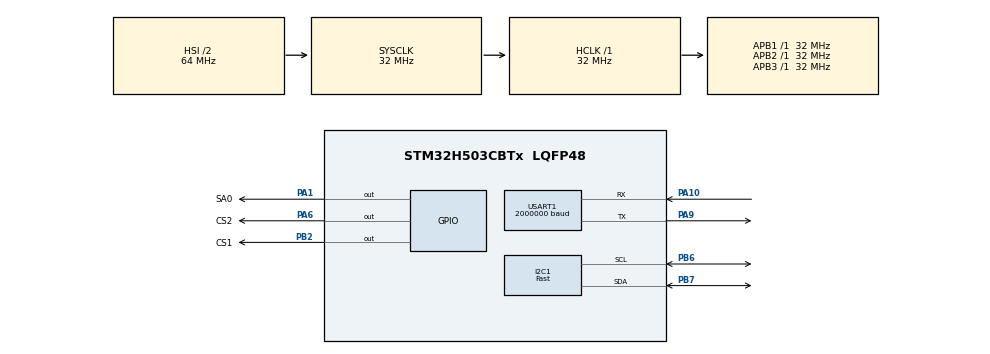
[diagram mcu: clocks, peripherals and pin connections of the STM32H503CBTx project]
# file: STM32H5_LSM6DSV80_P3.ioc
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BOOTPATH.BootPathName=LEGACY
BOOTPATH.UserSelectedBootPath=LEGACY
I2C1.I2C_Speed_Mode=I2C_Fast
I2C1.Timing=0x00300F38
Mcu.Family=STM32H5
Mcu.Name=STM32H503CBTx
Mcu.Package=LQFP48
NVIC.PriorityGroup=NVIC_PRIORITYGROUP_4
PA1.GPIO_Label=SA0
PA1.Signal=GPIO_Output
PA10.Mode=Asynchronous
PA10.Signal=USART1_RX
PA6.GPIO_Label=CS2
PA6.Signal=GPIO_Output
PA9.Mode=Asynchronous
PA9.Signal=USART1_TX
PB2.GPIO_Label=CS1
PB2.Signal=GPIO_Output
PB6.Mode=I2C
PB6.Signal=I2C1_SCL
PB7.Mode=I2C
PB7.Signal=I2C1_SDA
ProjectManager.HeapSize=0x2000
ProjectManager.StackSize=0x4000
ProjectManager.TargetToolchain=MDK-ARM V5.37
RCC.ADCFreq_Value=32000000
RCC.AHBFreq_Value=32000000
RCC.APB1Freq_Value=32000000
RCC.APB1TimFreq_Value=32000000
RCC.APB2Freq_Value=32000000
RCC.APB2TimFreq_Value=32000000
RCC.APB3Freq_Value=32000000
RCC.CSI_VALUE=4000000
RCC.CortexFreq_Value=32000000
RCC.EPOD_VALUE=4000000
RCC.HCLKFreq_Value=32000000
RCC.HSE_VALUE=25000000
RCC.HSI48_VALUE=48000000
RCC.HSI_VALUE=64000000
RCC.LSE_VALUE=32768
RCC.LSIRC_VALUE=32000
RCC.SYSCLKFreq_VALUE=32000000
RCC.USBFreq_Value=48000000
RCC.VCOOutputFreq_Value=516000000
USART1.BaudRate=2000000
USART1.VirtualMode-Asynchronous=VM_ASYNC
VP_BOOTPATH_VS_BOOTPATH.Mode=BP_Activate
VP_CORTEX_M33_NS_VS_Hclk.Mode=Hclk_Mode
VP_ICACHE_VS_ICACHE.Mode=DirectMappedCache
VP_MEMORYMAP_VS_MEMORYMAP.Mode=CurAppReg
VP_PWR_VS_LPOM.Mode=PowerOptimisation
VP_PWR_VS_SECSignals.Mode=Security/Privilege
board=custom

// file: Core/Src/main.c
/* USER CODE BEGIN Header */
/**
  ******************************************************************************
  * @file           : main.c
  * @brief          : Main program body
  ******************************************************************************
  * @attention
  *
  * Copyright (c) 2025 STMicroelectronics.
  * All rights reserved.
  *
  * This software is licensed under terms that can be found in the LICENSE file
  * in the root directory of this software component.
  * If no LICENSE file comes with this software, it is provided AS-IS.
  *
  ******************************************************************************
  */
/* USER CODE END Header */
#include "main.h"
#include "i2c.h"
#include "icache.h"
#include "usart.h"
#include "gpio.h"

/* USER CODE BEGIN Includes */
#include "stdio.h"
#include "lsm6dsv80x_reg.h"
/* USER CODE END Includes */

void SystemClock_Config(void);
/* USER CODE BEGIN PFP */
int fputc(int ch, FILE *f){
	HAL_UART_Transmit(&huart1 , (uint8_t *)&ch, 1, 0xFFFF);
	return ch;
}
/* USER CODE END PFP */

/* USER CODE BEGIN 0 */
#define SENSOR_BUS hi2c1

/* Private macro -------------------------------------------------------------*/
#define    BOOT_TIME            10 //ms
#define    CNT_FOR_OUTPUT       100

/* Private variables ---------------------------------------------------------*/
static int16_t data_raw_motion[3];
static int16_t data_raw_temperature;
static float_t acceleration_mg[3];
static float_t angular_rate_mdps[3];
static float_t temperature_degC;
static uint8_t whoamI;
static uint8_t tx_buffer[1000];

static lsm6dsv80x_filt_settling_mask_t filt_settling_mask;

/* Extern variables ----------------------------------------------------------*/

/* Private functions ---------------------------------------------------------*/

/*
 *   WARNING:
 *   Functions declare in this section are defined at the end of this file
 *   and are strictly related to the hardware platform used.
 *
 */
static int32_t platform_write(void *handle, uint8_t reg, const uint8_t *bufp,
                              uint16_t len);
static int32_t platform_read(void *handle, uint8_t reg, uint8_t *bufp,
                             uint16_t len);
static void tx_com( uint8_t *tx_buffer, uint16_t len );
static void platform_delay(uint32_t ms);
static void platform_init(void);

typedef struct
{
  float yaw;
  float pitch;
  float roll;
} euler_angle_t;

typedef struct
{
  float quat_w;
  float quat_x;
  float quat_y;
  float quat_z;
} quaternion_t;
void quaternion_to_euler_angle(quaternion_t *q,euler_angle_t *euler);
float halfPrecisionToFloat(uint16_t h);
static float_t npy_half_to_float(uint16_t h)
{
    union { float_t ret; uint32_t retbits; } conv;
    conv.retbits = lsm6dsv80x_from_f16_to_f32(h);
    return conv.ret;
}

static void sflp2q(float_t quat[4], uint16_t sflp[3])
{
  float_t sumsq = 0;

  quat[0] = npy_half_to_float(sflp[0]);
  quat[1] = npy_half_to_float(sflp[1]);
  quat[2] = npy_half_to_float(sflp[2]);

  for (uint8_t i = 0; i < 3; i++)
    sumsq += quat[i] * quat[i];

  if (sumsq > 1.0f) {
    float_t n = sqrtf(sumsq);
    quat[0] /= n;
    quat[1] /= n;
    quat[2] /= n;
    sumsq = 1.0f;
  }

  quat[3] = sqrtf(1.0f - sumsq);
}
/* USER CODE END 0 */

int main(void)
{

  /* MCU Configuration--------------------------------------------------------*/

  /* Reset of all peripherals, Initializes the Flash interface and the Systick. */
  HAL_Init();

  /* Configure the system clock */
  SystemClock_Config();

  /* Initialize all configured peripherals */
  MX_GPIO_Init();
  MX_I2C1_Init();
  MX_ICACHE_Init();
  MX_USART1_UART_Init();
  /* USER CODE BEGIN 2 */
	printf("HELLO!\n");
  HAL_GPIO_WritePin(CS1_GPIO_Port, CS1_Pin, GPIO_PIN_SET);
  HAL_GPIO_WritePin(SA0_GPIO_Port, SA0_Pin, GPIO_PIN_RESET);
  HAL_GPIO_WritePin(CS2_GPIO_Port, CS2_Pin, GPIO_PIN_SET);
	HAL_Delay(100);

	lsm6dsv80x_reset_t rst;
  stmdev_ctx_t dev_ctx;
  /* Initialize mems driver interface */
  dev_ctx.write_reg = platform_write;
  dev_ctx.read_reg = platform_read;
  dev_ctx.mdelay = platform_delay;
  dev_ctx.handle = &SENSOR_BUS;
  /* Init test platform */
//  platform_init();
  /* Wait sensor boot time */
  platform_delay(BOOT_TIME);

 /* 读取并检查器件 ID，确认当前 I2C/SPI 设备就是 LSM6DSV80X */
  lsm6dsv80x_device_id_get(&dev_ctx, &whoamI);
  printf("LSM6DSV80X_ID=0x%x,whoamI=0x%x",LSM6DSV80X_ID,whoamI);
  if (whoamI != LSM6DSV80X_ID)
    while (1);   // 如果ID不匹配则停机，说明连线/芯片错误

  /* 恢复默认配置：对所有寄存器进行软件复位，回到出厂状态 */
  lsm6dsv80x_reset_set(&dev_ctx, LSM6DSV80X_RESTORE_CTRL_REGS);
  do {
    lsm6dsv80x_reset_get(&dev_ctx, &rst);
  } while (rst != LSM6DSV80X_READY); // 等待复位完成

  /* 使能 BDU (Block Data Update)：在读完所有轴的寄存器前锁定数据，避免数据更新导致不一致 */
  lsm6dsv80x_block_data_update_set(&dev_ctx, PROPERTY_ENABLE);

  /* 设置输出数据速率 ODR：
   * 注意：SFLP 融合引擎的 ODR 不能高于输入传感器的 ODR
   */
  lsm6dsv80x_xl_data_rate_set(&dev_ctx, LSM6DSV80X_ODR_AT_120Hz);      // 低g加速度计 120Hz
  lsm6dsv80x_hg_xl_data_rate_set(&dev_ctx, LSM6DSV80X_HG_XL_ODR_AT_480Hz, 1); // 高g加速度计 480Hz，并打开 REGOUT 输出
  lsm6dsv80x_gy_data_rate_set(&dev_ctx, LSM6DSV80X_ODR_AT_120Hz);      // 陀螺仪 120Hz

  /* 设置满量程 FS */
  lsm6dsv80x_xl_full_scale_set(&dev_ctx, LSM6DSV80X_16g);      // 低g加速度计 ±16g
  lsm6dsv80x_hg_xl_full_scale_set(&dev_ctx, LSM6DSV80X_80g);   // 高g加速度计 ±80g
  lsm6dsv80x_gy_full_scale_set(&dev_ctx, LSM6DSV80X_4000dps);  // 陀螺仪 ±4000 dps

  /* 配置工作模式 */
  lsm6dsv80x_xl_mode_set(&dev_ctx, LSM6DSV80X_XL_HIGH_PERFORMANCE_MD); // 低g加速度计高性能模式
  lsm6dsv80x_gy_mode_set(&dev_ctx, LSM6DSV80X_GY_HIGH_PERFORMANCE_MD); // 陀螺仪高性能模式

  /* 配置 SFLP (Sensor Fusion Low Power) 融合引擎的数据输出速率 */
  lsm6dsv80x_sflp_data_rate_set(&dev_ctx, LSM6DSV80X_SFLP_120Hz);

  /* 开启 Game Rotation Vector 融合算法输出（即四元数输出） */
  lsm6dsv80x_sflp_game_rotation_set(&dev_ctx, PROPERTY_ENABLE);

  /* 配置陀螺零偏 (gBias)，避免融合计算时因偏置导致姿态漂移 */
  lsm6dsv80x_sflp_gbias_t gbias;
  lsm6dsv80x_all_sources_t all_sources;
  lsm6dsv80x_quaternion_t quaternion;
  /*
   * 应用层可以在这里加载上一次运行时保存的陀螺零偏值
   * （例如从 Flash 读取），这样能减少姿态解算漂移。
   */
  gbias.gbias_x = 0.0f;
  gbias.gbias_y = 0.0f;
  gbias.gbias_z = 0.0f;
  lsm6dsv80x_sflp_game_gbias_set(&dev_ctx, &gbias);

  /* 定义欧拉角和四元数变量，用于后续计算/输出 */
  euler_angle_t euler;
  quaternion_t quat;

	uint8_t sumcheck = 0;
	uint8_t addcheck = 0;

	uint8_t data_angular_rate_raw[16]={0};
	data_angular_rate_raw[0]=0xAB;//帧头
	data_angular_rate_raw[1]=0xFD;//源地址
	data_angular_rate_raw[2]=0xFE;//目标地址
	data_angular_rate_raw[3]=0x03;//功能码ID
	data_angular_rate_raw[4]=0x08;//数据长度LEN
	data_angular_rate_raw[5]=0x00;//数据长度LEN 8
	data_angular_rate_raw[6]=0x01;//mode = 1

	data_angular_rate_raw[13]=0x00;//FUSION _STA：融合状态

  /* USER CODE END 2 */

  /* Infinite loop */
  /* USER CODE BEGIN WHILE */
  while (1)
  {
		// 读取所有状态标志位（包括加速度/陀螺/温度 DRDY 以及嵌入式功能状态）
		lsm6dsv80x_all_sources_get(&dev_ctx, &all_sources);
		// 判断嵌入式功能（SFLP 融合引擎）是否处于可读状态
		if(all_sources.emb_func_stand_by)
		{
			// 从芯片寄存器读取 SFLP 融合四元数结果 (w, x, y, z)
			lsm6dsv80x_sflp_quaternion_get(&dev_ctx, &quaternion);
//			printf("w=%.2f,x=%.2f,y=%.2f,z=%.2f \n",
//									quaternion.quat_w,quaternion.quat_x,
//									quaternion.quat_y,quaternion.quat_z);
			// 对四元数做坐标系映射：
			// 这里根据板子安装方向，将芯片坐标系转换为应用坐标系
			quat.quat_w = quaternion.quat_w;
			quat.quat_x = - quaternion.quat_y;
			quat.quat_y = quaternion.quat_z;
			quat.quat_z = - quaternion.quat_x;
			// 将四元数转换为欧拉角（Roll/Pitch/Yaw）
			quaternion_to_euler_angle(&quat,&euler);
			// 打印欧拉角（单位：度）
//			printf("1:Roll=%.2f,Pitch=%.2f,Yaw=%.2f \n",
//											euler.roll,euler.pitch,euler.yaw);

			// 定义用于存放欧拉角的整数变量（放大100倍，用于发送）
			int16_t	Roll_int16;
			int16_t	Pitch_int16;
			int16_t	Yaw_int16;
			// 将浮点欧拉角转成定点整数，单位：度 × 100
			Roll_int16 = (int16_t)((euler.roll) * 100);
			Pitch_int16 = (int16_t)((euler.pitch) * 100);
			Yaw_int16 = (int16_t)((euler.yaw) * 100 - 18000);

//			printf("2:Roll=%d,Pitch=%d,Yaw=%d \n",
//											Roll_int16,Pitch_int16,Yaw_int16);

			data_angular_rate_raw[7] = (uint8_t)(Roll_int16 >> 8);//roll
			data_angular_rate_raw[8] = (uint8_t)(Roll_int16 );
			data_angular_rate_raw[9] = (uint8_t)(Pitch_int16 >> 8);//pitch
			data_angular_rate_raw[10] = (uint8_t)(Pitch_int16 );
			data_angular_rate_raw[11] = (uint8_t)(Yaw_int16 >> 8);//yaw
			data_angular_rate_raw[12] = (uint8_t)(Yaw_int16 );

			data_angular_rate_raw[13] = 0;
			sumcheck = 0;
			addcheck = 0;
			for(uint16_t i=0; i < 14; i++)
			{
				sumcheck += data_angular_rate_raw[i]; //从帧头开始，对每一字节进行求和，直到 DATA 区结束
				addcheck += sumcheck; //每一字节的求和操作，进行一次 sumcheck 的累加
			}
			data_angular_rate_raw[14]=sumcheck;
			data_angular_rate_raw[15]=addcheck;

			HAL_UART_Transmit(&huart1 , (uint8_t *)&data_angular_rate_raw, 16, 0xFFFF);

					}
    /* USER CODE END WHILE */

  }
}

void SystemClock_Config(void)
{
  RCC_OscInitTypeDef RCC_OscInitStruct = {0};
  RCC_ClkInitTypeDef RCC_ClkInitStruct = {0};

  /** Configure the main internal regulator output voltage
  */
  __HAL_PWR_VOLTAGESCALING_CONFIG(PWR_REGULATOR_VOLTAGE_SCALE3);

  while(!__HAL_PWR_GET_FLAG(PWR_FLAG_VOSRDY)) {}

  /** Initializes the RCC Oscillators according to the specified parameters
  * in the RCC_OscInitTypeDef structure.
  */
  RCC_OscInitStruct.OscillatorType = RCC_OSCILLATORTYPE_HSI;
  RCC_OscInitStruct.HSIState = RCC_HSI_ON;
  RCC_OscInitStruct.HSIDiv = RCC_HSI_DIV2;
  RCC_OscInitStruct.HSICalibrationValue = RCC_HSICALIBRATION_DEFAULT;
  RCC_OscInitStruct.PLL.PLLState = RCC_PLL_NONE;
  if (HAL_RCC_OscConfig(&RCC_OscInitStruct) != HAL_OK)
  {
    Error_Handler();
  }

  /** Initializes the CPU, AHB and APB buses clocks
  */
  RCC_ClkInitStruct.ClockType = RCC_CLOCKTYPE_HCLK|RCC_CLOCKTYPE_SYSCLK
                              |RCC_CLOCKTYPE_PCLK1|RCC_CLOCKTYPE_PCLK2
                              |RCC_CLOCKTYPE_PCLK3;
  RCC_ClkInitStruct.SYSCLKSource = RCC_SYSCLKSOURCE_HSI;
  RCC_ClkInitStruct.AHBCLKDivider = RCC_SYSCLK_DIV1;
  RCC_ClkInitStruct.APB1CLKDivider = RCC_HCLK_DIV1;
  RCC_ClkInitStruct.APB2CLKDivider = RCC_HCLK_DIV1;
  RCC_ClkInitStruct.APB3CLKDivider = RCC_HCLK_DIV1;

  if (HAL_RCC_ClockConfig(&RCC_ClkInitStruct, FLASH_LATENCY_1) != HAL_OK)
  {
    Error_Handler();
  }

  /** Configure the programming delay
  */
  __HAL_FLASH_SET_PROGRAM_DELAY(FLASH_PROGRAMMING_DELAY_0);
}

/* USER CODE BEGIN 4 */
/*
 * @brief  Write generic device register (platform dependent)
 *
 * @param  handle    customizable argument. In this examples is used in
 *                   order to select the correct sensor bus handler.
 * @param  reg       register to write
 * @param  bufp      pointer to data to write in register reg
 * @param  len       number of consecutive register to write
 *
 */
static int32_t platform_write(void *handle, uint8_t reg, const uint8_t *bufp,
                              uint16_t len)
{
  HAL_I2C_Mem_Write(handle, LSM6DSV80X_I2C_ADD_L, reg,
                    I2C_MEMADD_SIZE_8BIT, (uint8_t*) bufp, len, 1000);
  return 0;
}

/*
 * @brief  Read generic device register (platform dependent)
 *
 * @param  handle    customizable argument. In this examples is used in
 *                   order to select the correct sensor bus handler.
 * @param  reg       register to read
 * @param  bufp      pointer to buffer that store the data read
 * @param  len       number of consecutive register to read
 *
 */
static int32_t platform_read(void *handle, uint8_t reg, uint8_t *bufp,
                             uint16_t len)
{
  HAL_I2C_Mem_Read(handle, LSM6DSV80X_I2C_ADD_L, reg,
                   I2C_MEMADD_SIZE_8BIT, bufp, len, 1000);
  return 0;
}

/*
 * @brief  platform specific delay (platform dependent)
 *
 * @param  ms        delay in ms
 *
 */
static void platform_delay(uint32_t ms)
{
  HAL_Delay(ms);
}

void quaternion_to_euler_angle(quaternion_t *q,euler_angle_t *euler)
{
		if (q->quat_w < 0.0f) {
			q->quat_x *= -1.0f;
			q->quat_y *= -1.0f;
			q->quat_z *= -1.0f;
			q->quat_w *= -1.0f;
		}

		float sqx = q->quat_x * q->quat_x;
		float sqy = q->quat_y * q->quat_y;
		float sqz = q->quat_z * q->quat_z;

		euler->yaw = -atan2f(2.0f * (q->quat_y * q->quat_w + q->quat_x * q->quat_z), 1.0f - 2.0f * (sqy + sqx));
		euler->pitch = -atan2f(2.0f * (q->quat_x * q->quat_y + q->quat_z * q->quat_w), 1.0f - 2.0f * (sqx + sqz));
		euler->roll = -asinf(2.0f * (q->quat_x * q->quat_w - q->quat_y * q->quat_z));

		if (euler->yaw < 0.0f)
		{
			euler->yaw += 2.0f * 3.1415926;
		}

		euler->yaw = 57.29578 * euler->yaw;
		euler->pitch = 57.29578 * euler->pitch;
		euler->roll = 57.29578 * euler->roll;
}
/* USER CODE END 4 */

void Error_Handler(void)
{
  __disable_irq();
  while (1)
  {
  }
}
